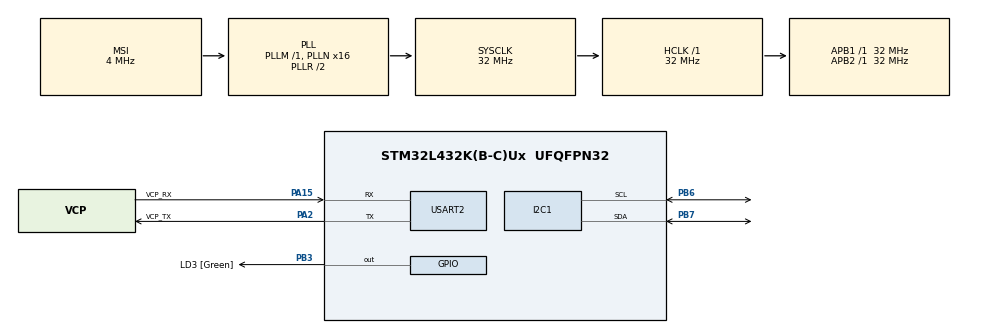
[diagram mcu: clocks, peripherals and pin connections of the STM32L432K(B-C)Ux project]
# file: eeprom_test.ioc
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I2C1.Analog_Filter=I2C_ANALOGFILTER_ENABLE
I2C1.I2C_Fall_Time=0
I2C1.I2C_Rise_Time=0
I2C1.Speed=80
I2C1.Timing=0x007088FF
Mcu.Family=STM32L4
Mcu.Name=STM32L432K(B-C)Ux
Mcu.Package=UFQFPN32
NVIC.PriorityGroup=NVIC_PRIORITYGROUP_4
PA0.GPIO_Label=MCO [High speed clock in]
PA0.Mode=HSE-External-Clock-Source-for-LittleOrca
PA0.Signal=RCC_CK_IN
PA13\ (JTMS-SWDIO).GPIO_Label=SWDIO
PA13\ (JTMS-SWDIO).Mode=Serial_Wire
PA13\ (JTMS-SWDIO).Signal=SYS_JTMS-SWDIO
PA14\ (JTCK-SWCLK).GPIO_Label=SWCLK
PA14\ (JTCK-SWCLK).Mode=Serial_Wire
PA14\ (JTCK-SWCLK).Signal=SYS_JTCK-SWCLK
PA15\ (JTDI).GPIO_Label=VCP_RX
PA15\ (JTDI).Mode=Asynchronous
PA15\ (JTDI).Signal=USART2_RX
PA2.GPIO_Label=VCP_TX
PA2.Mode=Asynchronous
PA2.Signal=USART2_TX
PB3\ (JTDO-TRACESWO).GPIO_Label=LD3 [Green]
PB3\ (JTDO-TRACESWO).Signal=GPIO_Output
PB6.Mode=I2C
PB6.Signal=I2C1_SCL
PB7.Mode=I2C
PB7.Signal=I2C1_SDA
PC14-OSC32_IN\ (PC14).Mode=LSE-External-Oscillator
PC14-OSC32_IN\ (PC14).Signal=RCC_OSC32_IN
PC15-OSC32_OUT\ (PC15).Mode=LSE-External-Oscillator
PC15-OSC32_OUT\ (PC15).Signal=RCC_OSC32_OUT
ProjectManager.HeapSize=0x200
ProjectManager.StackSize=0x400
ProjectManager.TargetToolchain=STM32CubeIDE
RCC.AHBFreq_Value=32000000
RCC.APB1Freq_Value=32000000
RCC.APB1TimFreq_Value=32000000
RCC.APB2Freq_Value=32000000
RCC.APB2TimFreq_Value=32000000
RCC.CortexFreq_Value=32000000
RCC.HCLKFreq_Value=32000000
RCC.HSE_VALUE=8000000
RCC.HSI16_VALUE=16000000
RCC.HSI48_VALUE=48000000
RCC.HSI_VALUE=16000000
RCC.MSI_VALUE=4000000
RCC.PLLMUL=RCC_PLLMUL_4
RCC.PLLN=16
RCC.SYSCLKFreq_VALUE=32000000
RCC.SYSCLKSource=RCC_SYSCLKSOURCE_PLLCLK
RCC.VCOOutputFreq_Value=64000000
USART2.VirtualMode-Asynchronous=VM_ASYNC
board=NUCLEO-L432KC

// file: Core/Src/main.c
/* USER CODE BEGIN Header */
/**
  ******************************************************************************
  * @file           : main.c
  * @brief          : Main program body
  ******************************************************************************
  * @attention
  *
  * <h2><center>&copy; Copyright (c) 2020 STMicroelectronics.
  * All rights reserved.</center></h2>
  *
  * This software component is licensed by ST under BSD 3-Clause license,
  * the "License"; You may not use this file except in compliance with the
  * License. You may obtain a copy of the License at:
  *                        opensource.org/licenses/BSD-3-Clause
  *
  ******************************************************************************
  */
/* USER CODE END Header */
#include "main.h"

/* USER CODE BEGIN Includes */
#include <stdio.h>
#include <stdlib.h>
#include <string.h>
/* USER CODE END Includes */

/* USER CODE BEGIN PTD */
//+++++++++++++++++++++++++++++++++++++++
//Specify type of sensor here (uncomment the proper line)
//+++++++++++++++++++++++++++++++++++++++
//#define SENSOR_CARBON_MONOXIDE
#define SENSOR_ETHANOL
//#define SENSOR_NITROGEN_DIOXIDE
//#define SENSOR_METHANE

typedef enum SENSOR_TYPES
{
	CARBON_MONOXIDE,
	ETHANOL,
	NITROGEN_DIOXIDE,
	METHANE
}SENSOR_TYPES;

#define ONE_HEX_BYTE							2
struct sensor_info
{
	char version_num[ONE_HEX_BYTE+1];
	char sensor_id[ONE_HEX_BYTE+1];
	char sensor_type[ONE_HEX_BYTE+1];
	char current_per_ppm_coefficient_dec[ONE_HEX_BYTE+1];
	char current_per_ppm_coefficient_frac[ONE_HEX_BYTE+1+1];
	char threshold[ONE_HEX_BYTE+1+1];
	char device_turned_on_with_sensor_counter[2*ONE_HEX_BYTE+1];
	char sensor_fired_counter[3*ONE_HEX_BYTE+1];
};
/* USER CODE END PTD */

/* USER CODE BEGIN PD */
//+++++++++++++++++++++++++++++++++++++++
//Specify version number!
//+++++++++++++++++++++++++++++++++++++++
#define VERSION_NUM								2									//0-255
//+++++++++++++++++++++++++++++++++++++++
//Specify sensor parameters for wanted type!
//+++++++++++++++++++++++++++++++++++++++
#if defined(SENSOR_CARBON_MONOXIDE)
#define SENSOR_ID 								1									//0-255
#define SENSOR_TYPE								CARBON_MONOXIDE						//enum SENSOR_TYPES
//this coefficient is usually 1-5 nA/ppm -> so f.e. 2.220 will look like: DEC = 2 , FRAC = 220
#define CURRENT_PER_PPM_COEFFICIENT_DEC			1									//depends on the sensor, but ususally >1
#define CURRENT_PER_PPM_COEFFICIENT_FRAC		592									//0-999
#define THRESHOLD								1434								//0-4095 for 12b configured ADC -> 1434 = 1050mV = 300ppm
#define DEVICE_TURNED_ON_WITH_SENSOR_COUNTER	0									//0 when factory-reset (0-65356)
#define SENSOR_FIRED_COUNTER					0								//0 when factory-reset (0-16 777 215)
#elif defined(SENSOR_ETHANOL)
#define SENSOR_ID 								2									//0-255
#define SENSOR_TYPE								ETHANOL						//enum SENSOR_TYPES
//this coefficient is usually 1-5 nA/ppm -> so f.e. 2.220 will look like: DEC = 2 , FRAC = 220
#define CURRENT_PER_PPM_COEFFICIENT_DEC			27									//depends on the sensor, but ususally >1
#define CURRENT_PER_PPM_COEFFICIENT_FRAC		650									//0-999
#define THRESHOLD								10								//0-4095 for 12b configured ADC
#define DEVICE_TURNED_ON_WITH_SENSOR_COUNTER	0									//0 when factory-reset (0-65356)
#define SENSOR_FIRED_COUNTER					0								//0 when factory-reset (0-16 777 215) TODO: ONLY 4B required - EEPROMS are not that rewriteable :V
#endif

#define STRUCT_SIZE								8

#define EEPROM_DATA_START						'<'
#define EEPROM_DATA_END							'>'

#define SIZE_OF_SPRINTF_FLAG					4+1

#define EEPROM_ADDRESS								0xA0
#define EEPROM_DATA_START_ADDR						0x00
#define VERSION_NUM_ADDR							0x01		//+2
#define SENSOR_ID_ADDR								0x03		//+2
#define SENSOR_TYPE_ADDR							0x05		//+2
#define CURRENT_PER_PPM_COEFFICIENT_DEC_ADDR		0x07		//+2
#define CURRENT_PER_PPM_COEFFICIENT_FRAC_ADDR		0x09		//+3
#define THRESHOLD_ADDR								0x0C		//+3
//another line, because of weird things with this EEPROM's addressing
#define DEVICE_TURNED_ON_WITH_SENSOR_COUNTER_ADDR	0x0F		//+4
#define SENSOR_FIRED_COUNTER_ADDR					0x13		//+6
#define EEPROM_DATA_END_ADDR						0x19
/* USER CODE END PD */

I2C_HandleTypeDef hi2c1;

UART_HandleTypeDef huart2;

void SystemClock_Config(void);
static void MX_GPIO_Init(void);
static void MX_USART2_UART_Init(void);
static void MX_I2C1_Init(void);
/* USER CODE BEGIN PFP */
void format_to_hex(uint16_t what, uint8_t num_of_signs, char* result);
void create_sensor_info(struct sensor_info* si);
void write_sensor_info_to_eeprom(struct sensor_info* si);
void zero_eeprom_useful_mem();
/* USER CODE END PFP */

int main(void)
{

  /* MCU Configuration--------------------------------------------------------*/

  /* Reset of all peripherals, Initializes the Flash interface and the Systick. */
  HAL_Init();

  /* Configure the system clock */
  SystemClock_Config();

  /* Initialize all configured peripherals */
  MX_GPIO_Init();
  MX_USART2_UART_Init();
  MX_I2C1_Init();
  /* USER CODE BEGIN 2 */

  struct sensor_info sensor;
  create_sensor_info(&sensor);

  //zero_eeprom_useful_mem();

  write_sensor_info_to_eeprom(&sensor);
  HAL_Delay(1000);
  uint8_t res[128];
  HAL_I2C_Mem_Read(&hi2c1, 0xA0, 0x00, 1, res, 128*sizeof(uint8_t), 128);
  HAL_UART_Transmit(&huart2, res, 128*sizeof(uint8_t), 128);
  char msg[2] = "\n\r";
  HAL_UART_Transmit(&huart2, msg, sizeof(msg), 2);
  /* USER CODE END 2 */

  /* Infinite loop */
  /* USER CODE BEGIN WHILE */
  while (1)
  {
	  HAL_Delay(1000);
    /* USER CODE END WHILE */

  }
}

void SystemClock_Config(void)
{
  RCC_OscInitTypeDef RCC_OscInitStruct = {0};
  RCC_ClkInitTypeDef RCC_ClkInitStruct = {0};
  RCC_PeriphCLKInitTypeDef PeriphClkInit = {0};

  /** Configure LSE Drive Capability
  */
  HAL_PWR_EnableBkUpAccess();
  __HAL_RCC_LSEDRIVE_CONFIG(RCC_LSEDRIVE_LOW);
  /** Initializes the RCC Oscillators according to the specified parameters
  * in the RCC_OscInitTypeDef structure.
  */
  RCC_OscInitStruct.OscillatorType = RCC_OSCILLATORTYPE_LSE|RCC_OSCILLATORTYPE_MSI;
  RCC_OscInitStruct.LSEState = RCC_LSE_ON;
  RCC_OscInitStruct.MSIState = RCC_MSI_ON;
  RCC_OscInitStruct.MSICalibrationValue = 0;
  RCC_OscInitStruct.MSIClockRange = RCC_MSIRANGE_6;
  RCC_OscInitStruct.PLL.PLLState = RCC_PLL_ON;
  RCC_OscInitStruct.PLL.PLLSource = RCC_PLLSOURCE_MSI;
  RCC_OscInitStruct.PLL.PLLM = 1;
  RCC_OscInitStruct.PLL.PLLN = 16;
  RCC_OscInitStruct.PLL.PLLP = RCC_PLLP_DIV7;
  RCC_OscInitStruct.PLL.PLLQ = RCC_PLLQ_DIV2;
  RCC_OscInitStruct.PLL.PLLR = RCC_PLLR_DIV2;
  if (HAL_RCC_OscConfig(&RCC_OscInitStruct) != HAL_OK)
  {
    Error_Handler();
  }
  /** Initializes the CPU, AHB and APB buses clocks
  */
  RCC_ClkInitStruct.ClockType = RCC_CLOCKTYPE_HCLK|RCC_CLOCKTYPE_SYSCLK
                              |RCC_CLOCKTYPE_PCLK1|RCC_CLOCKTYPE_PCLK2;
  RCC_ClkInitStruct.SYSCLKSource = RCC_SYSCLKSOURCE_PLLCLK;
  RCC_ClkInitStruct.AHBCLKDivider = RCC_SYSCLK_DIV1;
  RCC_ClkInitStruct.APB1CLKDivider = RCC_HCLK_DIV1;
  RCC_ClkInitStruct.APB2CLKDivider = RCC_HCLK_DIV1;

  if (HAL_RCC_ClockConfig(&RCC_ClkInitStruct, FLASH_LATENCY_1) != HAL_OK)
  {
    Error_Handler();
  }
  PeriphClkInit.PeriphClockSelection = RCC_PERIPHCLK_USART2|RCC_PERIPHCLK_I2C1;
  PeriphClkInit.Usart2ClockSelection = RCC_USART2CLKSOURCE_PCLK1;
  PeriphClkInit.I2c1ClockSelection = RCC_I2C1CLKSOURCE_PCLK1;
  if (HAL_RCCEx_PeriphCLKConfig(&PeriphClkInit) != HAL_OK)
  {
    Error_Handler();
  }
  /** Configure the main internal regulator output voltage
  */
  if (HAL_PWREx_ControlVoltageScaling(PWR_REGULATOR_VOLTAGE_SCALE1) != HAL_OK)
  {
    Error_Handler();
  }
  /** Enable MSI Auto calibration
  */
  HAL_RCCEx_EnableMSIPLLMode();
}

static void MX_I2C1_Init(void)
{

  hi2c1.Instance = I2C1;
  hi2c1.Init.Timing = 0x007088FF;
  hi2c1.Init.OwnAddress1 = 0;
  hi2c1.Init.AddressingMode = I2C_ADDRESSINGMODE_7BIT;
  hi2c1.Init.DualAddressMode = I2C_DUALADDRESS_DISABLE;
  hi2c1.Init.OwnAddress2 = 0;
  hi2c1.Init.OwnAddress2Masks = I2C_OA2_NOMASK;
  hi2c1.Init.GeneralCallMode = I2C_GENERALCALL_DISABLE;
  hi2c1.Init.NoStretchMode = I2C_NOSTRETCH_DISABLE;
  if (HAL_I2C_Init(&hi2c1) != HAL_OK)
  {
    Error_Handler();
  }
  /** Configure Analogue filter
  */
  if (HAL_I2CEx_ConfigAnalogFilter(&hi2c1, I2C_ANALOGFILTER_ENABLE) != HAL_OK)
  {
    Error_Handler();
  }
  /** Configure Digital filter
  */
  if (HAL_I2CEx_ConfigDigitalFilter(&hi2c1, 0) != HAL_OK)
  {
    Error_Handler();
  }

}

static void MX_USART2_UART_Init(void)
{

  huart2.Instance = USART2;
  huart2.Init.BaudRate = 115200;
  huart2.Init.WordLength = UART_WORDLENGTH_8B;
  huart2.Init.StopBits = UART_STOPBITS_1;
  huart2.Init.Parity = UART_PARITY_NONE;
  huart2.Init.Mode = UART_MODE_TX_RX;
  huart2.Init.HwFlowCtl = UART_HWCONTROL_NONE;
  huart2.Init.OverSampling = UART_OVERSAMPLING_16;
  huart2.Init.OneBitSampling = UART_ONE_BIT_SAMPLE_DISABLE;
  huart2.AdvancedInit.AdvFeatureInit = UART_ADVFEATURE_NO_INIT;
  if (HAL_UART_Init(&huart2) != HAL_OK)
  {
    Error_Handler();
  }

}

static void MX_GPIO_Init(void)
{
  GPIO_InitTypeDef GPIO_InitStruct = {0};

  /* GPIO Ports Clock Enable */
  __HAL_RCC_GPIOC_CLK_ENABLE();
  __HAL_RCC_GPIOA_CLK_ENABLE();
  __HAL_RCC_GPIOB_CLK_ENABLE();

  /*Configure GPIO pin Output Level */
  HAL_GPIO_WritePin(LD3_GPIO_Port, LD3_Pin, GPIO_PIN_RESET);

  /*Configure GPIO pin : LD3_Pin */
  GPIO_InitStruct.Pin = LD3_Pin;
  GPIO_InitStruct.Mode = GPIO_MODE_OUTPUT_PP;
  GPIO_InitStruct.Pull = GPIO_NOPULL;
  GPIO_InitStruct.Speed = GPIO_SPEED_FREQ_LOW;
  HAL_GPIO_Init(LD3_GPIO_Port, &GPIO_InitStruct);

}

/* USER CODE BEGIN 4 */
void format_to_hex(uint16_t what, uint8_t num_of_signs, char* result)
{
	char flag[SIZE_OF_SPRINTF_FLAG];
	sprintf(flag,"%%0%1dx",num_of_signs);
	sprintf(result,flag,what);
}

void create_sensor_info(struct sensor_info* si)
{
	format_to_hex(VERSION_NUM, ONE_HEX_BYTE, si->version_num);
	format_to_hex(SENSOR_ID, ONE_HEX_BYTE, si->sensor_id);
	SENSOR_TYPES states_holder = SENSOR_TYPE;
	format_to_hex((uint8_t)states_holder, ONE_HEX_BYTE, si->sensor_type);
	format_to_hex(CURRENT_PER_PPM_COEFFICIENT_DEC, ONE_HEX_BYTE, si->current_per_ppm_coefficient_dec);
	format_to_hex(CURRENT_PER_PPM_COEFFICIENT_FRAC, ONE_HEX_BYTE+1,si->current_per_ppm_coefficient_frac);
	format_to_hex(THRESHOLD, ONE_HEX_BYTE+1,si->threshold);
	format_to_hex(DEVICE_TURNED_ON_WITH_SENSOR_COUNTER, 2*ONE_HEX_BYTE,si->device_turned_on_with_sensor_counter);
	format_to_hex(SENSOR_FIRED_COUNTER, 3*ONE_HEX_BYTE,si->sensor_fired_counter);
}

void send_to_eeprom_byte_by_byte(uint16_t where, char* what)
{
	char msg[80];
	for(uint16_t i = 0; i<strlen(what); ++i)
	{
//		HAL_UART_Transmit(&huart2, (uint8_t*)"loop_in_sending_byte_by_byte\n", 29, HAL_MAX_DELAY);
		if(HAL_I2C_Mem_Write(&hi2c1, EEPROM_ADDRESS, where+i, 1, (uint8_t*)(&(what[i])), sizeof(what[i]), HAL_MAX_DELAY)!=HAL_OK)
		{
			sprintf(msg,"WRITE OPERATION FAILED at %d index byte in %s.\r\n", i, what);
			HAL_UART_Transmit(&huart2, (uint8_t*)msg, sizeof(msg), 10);
		}
		HAL_Delay(500);
	}
}

void send_to_eeprom_begin_and_end_markers()
{
	char begin = EEPROM_DATA_START, end = EEPROM_DATA_END;
	char msg[80];
	HAL_UART_Transmit(&huart2, (uint8_t*)"markers start\n\r", 15, 10);
	if(HAL_I2C_Mem_Write(&hi2c1, EEPROM_ADDRESS, EEPROM_DATA_START_ADDR, 1, (uint8_t*)&begin, sizeof(begin), HAL_MAX_DELAY)!=HAL_OK)
	{
		sprintf(msg,"WRITE OPERATION FAILED at start eeprom data");
		HAL_UART_Transmit(&huart2, (uint8_t*)msg, sizeof(msg), 10);
	}

	HAL_UART_Transmit(&huart2, (uint8_t*)"markers second\n\r", 16, 10);
	HAL_Delay(1000);

	if(HAL_I2C_Mem_Write(&hi2c1, EEPROM_ADDRESS, EEPROM_DATA_END_ADDR, 1, (uint8_t*)&end, sizeof(end), HAL_MAX_DELAY)!=HAL_OK)
	{
		sprintf(msg,"WRITE OPERATION FAILED at end eeprom data");
		HAL_UART_Transmit(&huart2, (uint8_t*)msg, sizeof(msg), 10);
	}

	HAL_UART_Transmit(&huart2, (uint8_t*)"markers end\n\r", 13, 10);
	HAL_Delay(1000);
}

void write_sensor_info_to_eeprom(struct sensor_info* si)
{
	char msg_write[80];
	sprintf(msg_write,"Sending data to EEPROM...\n\r");
	HAL_UART_Transmit(&huart2, (uint8_t*)msg_write, strlen(msg_write), 10);
	send_to_eeprom_begin_and_end_markers();
	send_to_eeprom_byte_by_byte(VERSION_NUM_ADDR, si->version_num);
	send_to_eeprom_byte_by_byte(SENSOR_ID_ADDR, si->sensor_id);
	send_to_eeprom_byte_by_byte(SENSOR_TYPE_ADDR, si->sensor_type);
	send_to_eeprom_byte_by_byte(CURRENT_PER_PPM_COEFFICIENT_DEC_ADDR, si->current_per_ppm_coefficient_dec);
	send_to_eeprom_byte_by_byte(CURRENT_PER_PPM_COEFFICIENT_FRAC_ADDR, si->current_per_ppm_coefficient_frac);
	send_to_eeprom_byte_by_byte(THRESHOLD_ADDR, si->threshold);
	send_to_eeprom_byte_by_byte(DEVICE_TURNED_ON_WITH_SENSOR_COUNTER_ADDR, si->device_turned_on_with_sensor_counter);
	send_to_eeprom_byte_by_byte(SENSOR_FIRED_COUNTER_ADDR, si->sensor_fired_counter);
//	if(HAL_I2C_Mem_Write(&hi2c1, EEPROM_ADDRESS, VERSION_NUM_ADDR, 1, (uint8_t*)si->version_num, strlen(si->version_num), HAL_MAX_DELAY)!=HAL_OK)
//	{
//		sprintf(msg_write,"WRITE OPERATION FAILED at version field in struct.\r\n");
//		HAL_UART_Transmit(&huart2, (uint8_t*)msg_write, sizeof(msg_write), 10);
//	}
//	HAL_Delay(1000);
//	if(HAL_I2C_Mem_Write(&hi2c1, EEPROM_ADDRESS, SENSOR_ID_ADDR, 1, (uint8_t*)si->sensor_id, strlen(si->sensor_id), HAL_MAX_DELAY)!=HAL_OK)
//	{
//		sprintf(msg_write,"WRITE OPERATION FAILED at sensor_id field in struct.\r\n");
//		HAL_UART_Transmit(&huart2, (uint8_t*)msg_write, sizeof(msg_write), 10);
//	}
//	HAL_Delay(1000);
//	if(HAL_I2C_Mem_Write(&hi2c1, EEPROM_ADDRESS, SENSOR_TYPE_ADDR, 1, (uint8_t*)si->sensor_type, strlen(si->sensor_type), HAL_MAX_DELAY)!=HAL_OK)
//	{
//		sprintf(msg_write,"WRITE OPERATION FAILED at sensor_type field in struct.\r\n");
//		HAL_UART_Transmit(&huart2, (uint8_t*)msg_write, strlen(msg_write), 10);
//	}
//	HAL_Delay(1000);
//	if(HAL_I2C_Mem_Write(&hi2c1, EEPROM_ADDRESS, CURRENT_PER_PPM_COEFFICIENT_DEC_ADDR, 1,
//			(uint8_t*)si->current_per_ppm_coefficient_dec, strlen(si->current_per_ppm_coefficient_dec), HAL_MAX_DELAY)!=HAL_OK)
//	{
//		sprintf(msg_write,"WRITE OPERATION FAILED at current_per_ppm_dec field in struct.\r\n");
//		HAL_UART_Transmit(&huart2, (uint8_t*)msg_write, strlen(msg_write), 10);
//	}
//	HAL_Delay(1000);
//	if(HAL_I2C_Mem_Write(&hi2c1, EEPROM_ADDRESS, CURRENT_PER_PPM_COEFFICIENT_FRAC_ADDR, 1,
//			(uint8_t*)si->current_per_ppm_coefficient_frac, strlen(si->current_per_ppm_coefficient_frac), HAL_MAX_DELAY)!=HAL_OK)
//	{
//		sprintf(msg_write,"WRITE OPERATION FAILED at current_per_ppm_frac field in struct.\r\n");
//		HAL_UART_Transmit(&huart2, (uint8_t*)msg_write, strlen(msg_write), 10);
//	}
//	HAL_Delay(1000);
//	if(HAL_I2C_Mem_Write(&hi2c1, EEPROM_ADDRESS, THRESHOLD_ADDR, 1, (uint8_t*)si->threshold, strlen(si->threshold), HAL_MAX_DELAY)!=HAL_OK)
//	{
//		sprintf(msg_write,"WRITE OPERATION FAILED at threshold field in struct.\r\n");
//		HAL_UART_Transmit(&huart2, (uint8_t*)msg_write, strlen(msg_write), 10);
//	}
//	HAL_Delay(2000);
//	if(HAL_I2C_Mem_Write(&hi2c1, EEPROM_ADDRESS, DEVICE_TURNED_ON_WITH_SENSOR_COUNTER_ADDR, 1,
//			(uint8_t*)si->device_turned_on_with_sensor_counter, strlen(si->device_turned_on_with_sensor_counter), HAL_MAX_DELAY)!=HAL_OK)
//	{
//		sprintf(msg_write,"WRITE OPERATION FAILED at device... field in struct.\r\n");
//		HAL_UART_Transmit(&huart2, (uint8_t*)msg_write, strlen(msg_write), 10);
//	}
//	HAL_Delay(2000);
//	if(HAL_I2C_Mem_Write(&hi2c1, EEPROM_ADDRESS, SENSOR_FIRED_COUNTER_ADDR, 1,
//			(uint8_t*)si->sensor_fired_counter, strlen(si->sensor_fired_counter), HAL_MAX_DELAY)!=HAL_OK)
//	{
//		sprintf(msg_write,"WRITE OPERATION FAILED at sensor_fired field in struct.\r\n");
//		HAL_UART_Transmit(&huart2, (uint8_t*)msg_write, strlen(msg_write), 10);
//	}
	sprintf(msg_write,"Data saved to EEPROM!\n\r");
	HAL_UART_Transmit(&huart2, (uint8_t*)msg_write, strlen(msg_write), 10);
}

void zero_eeprom_useful_mem()
{
	uint8_t zero_arr[100];
	memset(zero_arr, 0, 100);
	char msg_write[80];
	if(HAL_I2C_Mem_Write(&hi2c1, EEPROM_ADDRESS, 0x00, 1, zero_arr, 100, HAL_MAX_DELAY)!=HAL_OK)
		{
			sprintf(msg_write,"WRITE OPERATION FAILED at zeroing EEPROM.\r\n");
			HAL_UART_Transmit(&huart2, (uint8_t*)msg_write, strlen(msg_write), 10);
		}
	HAL_Delay(5000);
}
/* USER CODE END 4 */

void Error_Handler(void)
{
  /* USER CODE BEGIN Error_Handler_Debug */
  /* User can add his own implementation to report the HAL error return state */
	//HAL_UART_Transmit(&huart2, "yes, this is error", 18, HAL_MAX_DELAY);
  /* USER CODE END Error_Handler_Debug */
}

/************************ (C) COPYRIGHT STMicroelectronics *****END OF FILE****/
